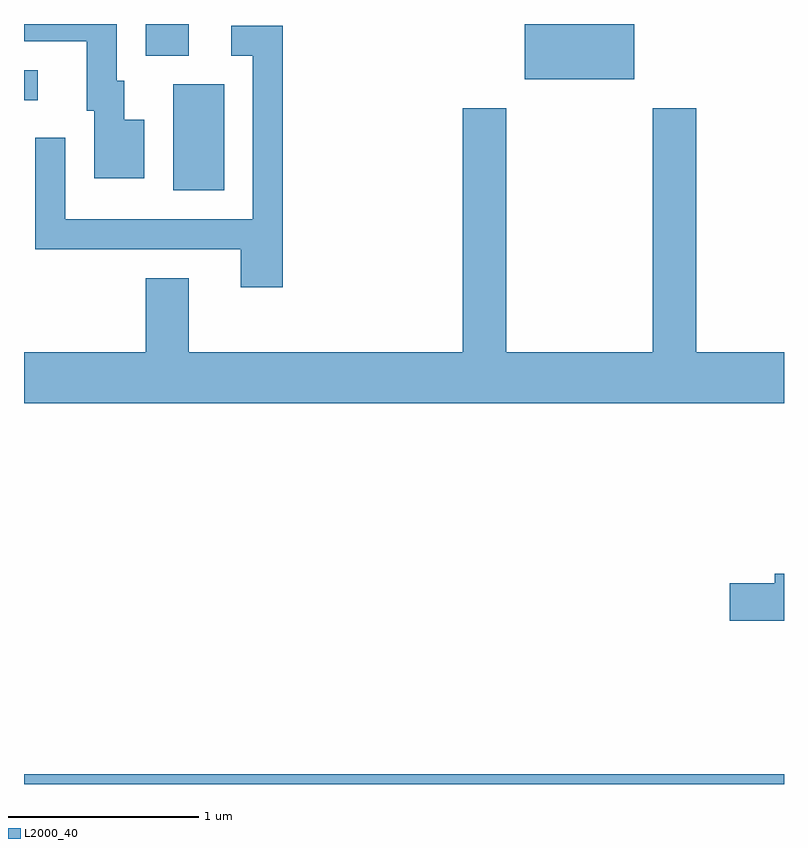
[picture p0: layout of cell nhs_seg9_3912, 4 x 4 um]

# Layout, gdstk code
import gdstk
lib = gdstk.Library(unit=1e-6, precision=1e-09)
def R(c, l, rs):  # rectangles x0, y0, x1, y1
    for r in rs: c.add(gdstk.rectangle(r[:2], r[2:], *l))
def P(c, l, *ps):  # polygons
    for p in ps: c.add(gdstk.Polygon(p, *l))
L2000_40 = (2000, 40)

nhs_seg9_3912 = lib.new_cell('nhs_seg9_3912')
R(nhs_seg9_3912, L2000_40, [(299.611,2036.432,303.611,2036.484), (300.396,2039.556,300.664,2040.114), (299.611,2040.031,299.683,2040.189), (302.246,2040.141,302.824,2040.432), (300.251,2040.266,300.479,2040.432)])
P(nhs_seg9_3912, L2000_40, [(300.244,2039.929),(300.139,2039.929),(300.139,2040.134),(300.099,2040.134),(300.099,2040.432),(299.611,2040.432),(299.611,2040.341),(299.941,2040.341),(299.941,2039.976),(299.981,2039.976),(299.981,2039.621),(300.244,2039.621)],
  [(300.974,2040.424),(300.703,2040.424),(300.703,2040.266),(300.816,2040.266),(300.816,2039.404),(299.829,2039.404),(299.829,2039.833),(299.671,2039.833),(299.671,2039.246),(300.751,2039.246),(300.751,2039.046),(300.974,2039.046)],
  [(303.611,2038.704),(303.149,2038.704),(303.149,2039.989),(302.921,2039.989),(302.921,2038.704),(302.149,2038.704),(302.149,2039.989),(301.921,2039.989),(301.921,2038.704),(300.479,2038.704),(300.479,2039.094),(300.251,2039.094),(300.251,2038.704),(299.611,2038.704),(299.611,2038.436),(303.611,2038.436)],
  [(303.611,2037.539),(303.561,2037.539),(303.561,2037.489),(303.326,2037.489),(303.326,2037.291),(303.611,2037.291)])

lib.write_gds('nhs_seg9_3912.gds')
